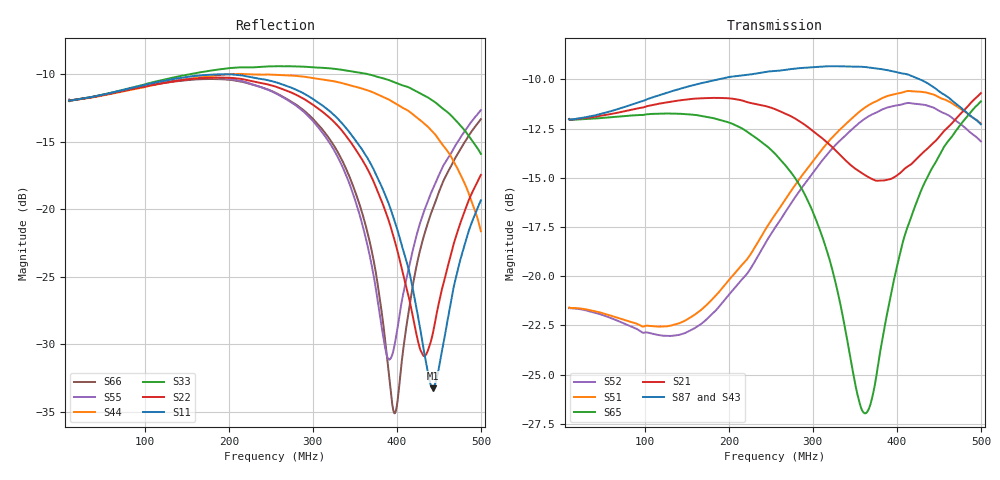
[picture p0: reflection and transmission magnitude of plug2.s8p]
!Agilent Technologies,M9370A,MY54322275,A.02.50.04
!Agilent M9370A: A.02.50.04
!Date: Friday, August 17, 2018 12:57:14
!Correction: S11(Full 8 Port(1,2,3,4,5,6,7,8))
!S12(Full 8 Port(1,2,3,4,5,6,7,8))
!S13(Full 8 Port(1,2,3,4,5,6,7,8))
!S14(Full 8 Port(1,2,3,4,5,6,7,8))
!S15(Full 8 Port(1,2,3,4,5,6,7,8))
!S16(Full 8 Port(1,2,3,4,5,6,7,8))
!S17(Full 8 Port(1,2,3,4,5,6,7,8))
!S18(Full 8 Port(1,2,3,4,5,6,7,8))
!S21(Full 8 Port(1,2,3,4,5,6,7,8))
!S22(Full 8 Port(1,2,3,4,5,6,7,8))
!S23(Full 8 Port(1,2,3,4,5,6,7,8))
!S24(Full 8 Port(1,2,3,4,5,6,7,8))
!S25(Full 8 Port(1,2,3,4,5,6,7,8))
!S26(Full 8 Port(1,2,3,4,5,6,7,8))
!S27(Full 8 Port(1,2,3,4,5,6,7,8))
!S28(Full 8 Port(1,2,3,4,5,6,7,8))
!S31(Full 8 Port(1,2,3,4,5,6,7,8))
!S32(Full 8 Port(1,2,3,4,5,6,7,8))
!S33(Full 8 Port(1,2,3,4,5,6,7,8))
!S34(Full 8 Port(1,2,3,4,5,6,7,8))
!S35(Full 8 Port(1,2,3,4,5,6,7,8))
!S36(Full 8 Port(1,2,3,4,5,6,7,8))
!S37(Full 8 Port(1,2,3,4,5,6,7,8))
!S38(Full 8 Port(1,2,3,4,5,6,7,8))
!S41(Full 8 Port(1,2,3,4,5,6,7,8))
!S42(Full 8 Port(1,2,3,4,5,6,7,8))
!S43(Full 8 Port(1,2,3,4,5,6,7,8))
!S44(Full 8 Port(1,2,3,4,5,6,7,8))
!S45(Full 8 Port(1,2,3,4,5,6,7,8))
!S46(Full 8 Port(1,2,3,4,5,6,7,8))
!S47(Full 8 Port(1,2,3,4,5,6,7,8))
!S48(Full 8 Port(1,2,3,4,5,6,7,8))
!S51(Full 8 Port(1,2,3,4,5,6,7,8))
!S52(Full 8 Port(1,2,3,4,5,6,7,8))
!S53(Full 8 Port(1,2,3,4,5,6,7,8))
!S54(Full 8 Port(1,2,3,4,5,6,7,8))
!S55(Full 8 Port(1,2,3,4,5,6,7,8))
!S56(Full 8 Port(1,2,3,4,5,6,7,8))
!S57(Full 8 Port(1,2,3,4,5,6,7,8))
!S58(Full 8 Port(1,2,3,4,5,6,7,8))
!S61(Full 8 Port(1,2,3,4,5,6,7,8))
!S62(Full 8 Port(1,2,3,4,5,6,7,8))
!S63(Full 8 Port(1,2,3,4,5,6,7,8))
!S64(Full 8 Port(1,2,3,4,5,6,7,8))
!S65(Full 8 Port(1,2,3,4,5,6,7,8))
!S66(Full 8 Port(1,2,3,4,5,6,7,8))
!S67(Full 8 Port(1,2,3,4,5,6,7,8))
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# Hz S  RI  R 50
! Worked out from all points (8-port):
!   1000 points, 10 MHz to 500 MHz, reference 50 ohm
!   strongest paths, dB at 10 MHz, 132.6 MHz, 255.2 MHz, 377.9 MHz, 500 MHz:
!     S87: -12.0, -10.6, -9.6, -9.5, -12.3
!     S43: -12.0, -10.6, -9.5, -9.5, -12.8
!     S21: -12.0, -11.1, -11.5, -15.1, -10.7
!     S65: -12.0, -11.7, -13.8, -24.4, -11.1
!     S51: -21.6, -22.5, -16.9, -11.1, -12.2
!     S52: -21.6, -23.0, -17.5, -11.6, -13.2
!   lowest |S11| = -33.3 dB at 442.6 MHz (marker M1), VSWR 1.04, Z = 48 - j0.673 ohm
!   |S11| at or under -10 dB: start of sweep to end of sweep
